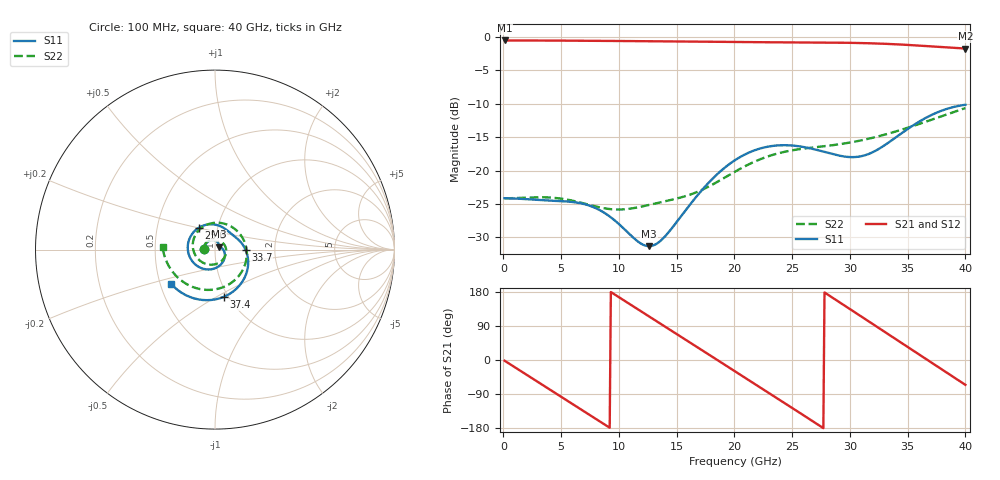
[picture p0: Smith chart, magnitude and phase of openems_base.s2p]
! X_s8x4_L1L3_bd_d200: L1→L3 back-drilled, drill Ø0.2, L4 plane removed: L3 exits inside the thick L2–L5 pair
! stackup: 8-layer 1.6 mm FR-4 without the L4 plane
! ports: 1, 2
! openEMS 0.37.0, staircase, base mesh (dfine 0.035 mm), 611065 cells
# Hz S RI R 50
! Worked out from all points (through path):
!   400 points, 100 MHz to 40 GHz, reference 50 ohm
!   highest |S21| = -0.56 dB at 100 MHz (marker M1); lowest = -1.8 dB at 40 GHz (marker M2)
!   group delay of S21, straight-line fit = 54.5 ps
!   lowest |S11| = -31.3 dB at 12.6 GHz (marker M3), VSWR 1.06, Z = 52.2 + j1.71 ohm
!   |S11| at or under -10 dB: start of sweep to end of sweep
!   |S22| runs from -25.8 to -10.7 dB; largest |S21 - S12| = 0.0075
!   S11 on the Smith chart (normalised r, x): 100 MHz: 0.88, +0.00; 25.6 GHz: 0.81, +0.20; 33.7 GHz: 1.41, +0.00; 37.4 GHz: 0.95, -0.54; 40 GHz: 0.57, -0.24
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1e8  -0.062 0.00101  0.9374 -0.0318  0.9374 -0.0318  -0.062 0.000939
1.8e9  -0.0586 0.0177  0.7681 -0.5376  0.7681 -0.5376  -0.0601 0.0175
3.7e9  -0.0494 0.0336  0.2908 -0.8903  0.2907 -0.8903  -0.0513 0.0365
5.2e9  -0.0381 0.0449  -0.1794 -0.9179  -0.1794 -0.9179  -0.038 0.0481
6.8e9  -0.0193 0.0532  -0.6263 -0.6922  -0.6263 -0.6922  -0.0211 0.0532
9.6e9  0.0165 0.0393  -0.9238 0.1052  -0.9238 0.1053  0.00297 0.0511
1.26e10  0.0217 0.0163  -0.395 0.8375  -0.3951 0.8376  0.0348 0.043
1.34e10  0.0246 0.0152  -0.1558 0.9118  -0.1561 0.912  0.0459 0.0344
1.52e10  0.0433 0.00316  0.3947 0.834  0.3947 0.8347  0.0623 -0.003
1.71e10  0.0534 -0.0452  0.8144 0.4268  0.8155 0.4273  0.0429 -0.0567
1.86e10  0.0208 -0.0931  0.9161 -0.0252  0.9174 -0.0257  -0.00516 -0.0828
2.01e10  -0.0482 -0.1102  0.7846 -0.4676  0.7851 -0.4689  -0.0657 -0.0736
2.29e10  -0.1506 -0.00699  0.0732 -0.9064  0.0722 -0.9071  -0.1237 0.0308
2.56e10  -0.0906 0.1217  -0.6778 -0.6035  -0.6784 -0.6034  -0.0605 0.131
2.67e10  -0.0395 0.1402  -0.852 -0.3101  -0.8524 -0.31  -0.0142 0.1477
2.86e10  0.0378 0.1265  -0.8615 0.274  -0.8622 0.2736  0.0706 0.138
3.06e10  0.0884 0.0903  -0.4826 0.7579  -0.485 0.7586  0.1478 0.0744
3.34e10  0.1623 0.0153  0.3544 0.8086  0.3559 0.814  0.1614 -0.0991
3.37e10  0.17 0.000158  0.4361 0.7648  0.4387 0.7701  0.1512 -0.1195
3.56e10  0.173 -0.1375  0.7985 0.3259  0.8058 0.3254  0.0282 -0.2152
3.74e10  0.0475 -0.2639  0.8187 -0.2001  0.8214 -0.2069  -0.1397 -0.2016
4e10  -0.2456 -0.1891  0.3372 -0.7432  0.3318 -0.7449  -0.2924 0.0173
